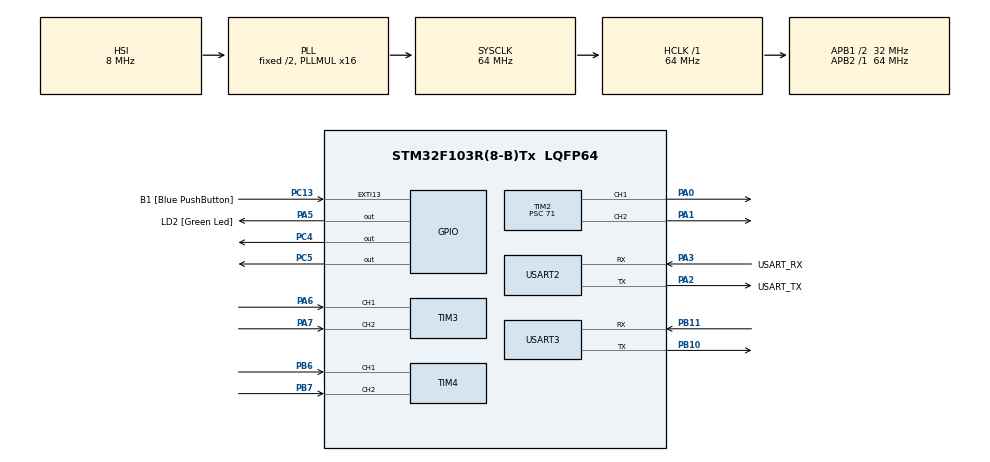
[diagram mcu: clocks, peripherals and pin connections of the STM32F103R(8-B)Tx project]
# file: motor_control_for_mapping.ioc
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Mcu.Family=STM32F1
Mcu.Name=STM32F103R(8-B)Tx
Mcu.Package=LQFP64
NVIC.EXTI15_10_IRQn=true\:0\:0\:false\:false\:true\:true\:true\:true
NVIC.PriorityGroup=NVIC_PRIORITYGROUP_4
NVIC.TIM2_IRQn=true\:0\:0\:false\:false\:true\:true\:true\:true
NVIC.TIM3_IRQn=true\:0\:0\:false\:false\:true\:true\:true\:true
NVIC.TIM4_IRQn=true\:0\:0\:false\:false\:true\:true\:true\:true
NVIC.USART2_IRQn=true\:0\:0\:false\:false\:true\:true\:true\:true
NVIC.USART3_IRQn=true\:0\:0\:false\:false\:true\:true\:true\:true
PA0-WKUP.Signal=S_TIM2_CH1_ETR
PA1.Signal=S_TIM2_CH2
PA13.GPIO_Label=TMS
PA13.Mode=Serial_Wire
PA13.Signal=SYS_JTMS-SWDIO
PA14.GPIO_Label=TCK
PA14.Mode=Serial_Wire
PA14.Signal=SYS_JTCK-SWCLK
PA2.GPIO_Label=USART_TX
PA2.GPIO_Mode=GPIO_MODE_AF_PP
PA2.GPIO_PuPd=GPIO_NOPULL
PA2.GPIO_Speed=GPIO_SPEED_FREQ_LOW
PA2.Mode=Asynchronous
PA2.Signal=USART2_TX
PA3.GPIO_Label=USART_RX
PA3.GPIO_Mode=GPIO_MODE_AF_PP
PA3.GPIO_PuPd=GPIO_NOPULL
PA3.GPIO_Speed=GPIO_SPEED_FREQ_LOW
PA3.Mode=Asynchronous
PA3.Signal=USART2_RX
PA5.GPIO_Label=LD2 [Green Led]
PA5.GPIO_ModeDefaultOutputPP=GPIO_MODE_OUTPUT_PP
PA5.GPIO_PuPd=GPIO_NOPULL
PA5.GPIO_Speed=GPIO_SPEED_FREQ_LOW
PA5.Signal=GPIO_Output
PA6.Signal=S_TIM3_CH1
PA7.Signal=S_TIM3_CH2
PB10.Mode=Asynchronous
PB10.Signal=USART3_TX
PB11.Mode=Asynchronous
PB11.Signal=USART3_RX
PB3.GPIO_Label=SWO
PB3.Signal=SYS_JTDO-TRACESWO
PB6.Signal=S_TIM4_CH1
PB7.Signal=S_TIM4_CH2
PC13-TAMPER-RTC.GPIO_Label=B1 [Blue PushButton]
PC13-TAMPER-RTC.GPIO_PuPd=GPIO_NOPULL
PC13-TAMPER-RTC.Signal=GPXTI13
PC14-OSC32_IN.Mode=LSE-External-Oscillator
PC14-OSC32_IN.Signal=RCC_OSC32_IN
PC15-OSC32_OUT.Mode=LSE-External-Oscillator
PC15-OSC32_OUT.Signal=RCC_OSC32_OUT
PC4.Signal=GPIO_Output
PC5.Signal=GPIO_Output
PD0-OSC_IN.Mode=HSE-External-Clock-Source
PD0-OSC_IN.Signal=RCC_OSC_IN
PD1-OSC_OUT.Mode=HSE-External-Clock-Source
PD1-OSC_OUT.Signal=RCC_OSC_OUT
ProjectManager.HeapSize=0x200
ProjectManager.StackSize=0x400
ProjectManager.TargetToolchain=STM32CubeIDE
RCC.AHBFreq_Value=64000000
RCC.APB1CLKDivider=RCC_HCLK_DIV2
RCC.APB1Freq_Value=32000000
RCC.APB1TimFreq_Value=64000000
RCC.APB2Freq_Value=64000000
RCC.APB2TimFreq_Value=64000000
RCC.HCLKFreq_Value=64000000
RCC.PLLMUL=RCC_PLL_MUL16
RCC.RTCClockSelection=RCC_RTCCLKSOURCE_LSE
RCC.SYSCLKFreq_VALUE=64000000
RCC.SYSCLKSource=RCC_SYSCLKSOURCE_PLLCLK
RCC.USBFreq_Value=64000000
SH.S_TIM2_CH1_ETR.0=TIM2_CH1,PWM Generation1 CH1
SH.S_TIM2_CH2.0=TIM2_CH2,PWM Generation2 CH2
SH.S_TIM3_CH1.0=TIM3_CH1,Encoder_Interface
SH.S_TIM3_CH2.0=TIM3_CH2,Encoder_Interface
SH.S_TIM4_CH1.0=TIM4_CH1,Encoder_Interface
SH.S_TIM4_CH2.0=TIM4_CH2,Encoder_Interface
TIM2.Channel-PWM\ Generation1\ CH1=TIM_CHANNEL_1
TIM2.Channel-PWM\ Generation2\ CH2=TIM_CHANNEL_2
TIM2.Period=49
TIM2.Prescaler=71
TIM3.EncoderMode=TIM_ENCODERMODE_TI12
TIM4.EncoderMode=TIM_ENCODERMODE_TI12
USART2.VirtualMode=VM_ASYNC
USART3.VirtualMode=VM_ASYNC
board=NUCLEO-F103RB

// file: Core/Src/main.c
/* USER CODE BEGIN Header */
/**
  ******************************************************************************
  * @file           : main.c
  * @brief          : Main program body
  ******************************************************************************
  * @attention
  *
  * Copyright (c) 2025 STMicroelectronics.
  * All rights reserved.
  *
  * This software is licensed under terms that can be found in the LICENSE file
  * in the root directory of this software component.
  * If no LICENSE file comes with this software, it is provided AS-IS.
  *
  ******************************************************************************
  */
/* USER CODE END Header */
#include "main.h"
#include <math.h>  // fabs() 함수 사용을 위해
#include <stdbool.h>

/* USER CODE BEGIN PD */
#define DIR_LEFT_GPIO_Port GPIOC
#define DIR_LEFT_Pin GPIO_PIN_4
#define DIR_RIGHT_GPIO_Port GPIOC
#define DIR_RIGHT_Pin GPIO_PIN_5

static char cmd_buffer[32];
static uint8_t idx = 0;

char rx_buffer[2];  // 수신용 임시 버퍼
float left_pwm = 0.0f;
float right_pwm = 0.0f;
float target_left = 0.0f;
float target_right = 0.0f;
int l_perc = 0;
int r_perc = 0;
int16_t cnt = 0;
bool new_command_received = false;
/* USER CODE END PD */

TIM_HandleTypeDef htim2;
TIM_HandleTypeDef htim3;
TIM_HandleTypeDef htim4;

UART_HandleTypeDef huart2;
UART_HandleTypeDef huart3;

void SystemClock_Config(void);
static void MX_GPIO_Init(void);
static void MX_USART2_UART_Init(void);
static void MX_TIM2_Init(void);
static void MX_TIM3_Init(void);
static void MX_TIM4_Init(void);
static void MX_USART3_UART_Init(void);

/* USER CODE BEGIN 0 */
void set_motor_pwm(float left_percent, float right_percent) {
    // 왼쪽 방향 설정
    if (left_percent >= 0.0f) {
        HAL_GPIO_WritePin(DIR_LEFT_GPIO_Port, DIR_LEFT_Pin, GPIO_PIN_SET); // 전진
    } else {
        HAL_GPIO_WritePin(DIR_LEFT_GPIO_Port, DIR_LEFT_Pin, GPIO_PIN_RESET); // 후진
        left_percent = -left_percent; // 절댓값으로
    }

    // 오른쪽 방향 설정
    if (right_percent >= 0.0f) {
        HAL_GPIO_WritePin(DIR_RIGHT_GPIO_Port, DIR_RIGHT_Pin, GPIO_PIN_SET); // 전진
    } else {
        HAL_GPIO_WritePin(DIR_RIGHT_GPIO_Port, DIR_RIGHT_Pin, GPIO_PIN_RESET); // 후진
        right_percent = -right_percent;
    }

    // 퍼센트 → CCR 변환
    TIM2->CCR1 = ((TIM2->ARR + 1) * left_percent) -1;
    TIM2->CCR2 = ((TIM2->ARR + 1) * right_percent) -1;
}

void smooth_motor_pwm(float target_left, float target_right, float duration_ms) {
    const int steps = 20;
    float step_delay = duration_ms / steps;
    if (step_delay < 1.0f) step_delay = 1.0f;

    float delta_left = (target_left - left_pwm) / steps;
    float delta_right = (target_right - right_pwm) / steps;

    for (int i = 0; i <= steps; i++) {
        float new_left = left_pwm + delta_left * i;
        float new_right = right_pwm + delta_right * i;
        set_motor_pwm(new_left, new_right);  // 기존 함수 사용
        HAL_Delay((uint32_t)step_delay);
    }

    left_pwm = target_left;
    right_pwm = target_right;
}

/*
void send_encoder_values(void) {
    char msg[64];
    int16_t left_cnt = (int16_t)__HAL_TIM_GET_COUNTER(&htim3)/104;
    int16_t right_cnt = (int16_t)__HAL_TIM_GET_COUNTER(&htim4)/104;

    sprintf(msg, "ENC_L:%d\nENC_R:%d\n", left_cnt, right_cnt);
    HAL_UART_Transmit(&huart2, (uint8_t *)msg, strlen(msg), 100);
}
*/

void send_encoder_values(void) {
    static int16_t prev_left_raw = 0;
    static int16_t prev_right_raw = 0;
    static int32_t left_total = 0;
    static int32_t right_total = 0;

    char msg[64];

    // 현재 엔코더 값 읽기
    int16_t left_now = (int16_t)__HAL_TIM_GET_COUNTER(&htim3);
    int16_t right_now = (int16_t)__HAL_TIM_GET_COUNTER(&htim4);

    // 차이 계산 (이번 주기에서 얼마나 회전했는지)
    int16_t delta_left = left_now - prev_left_raw;
    int16_t delta_right = right_now - prev_right_raw;

    // 오버플로우/언더플로우 보정
    if (delta_left > 30000) delta_left -= 65536;
    else if (delta_left < -30000) delta_left += 65536;

    if (delta_right > 30000) delta_right -= 65536;
    else if (delta_right < -30000) delta_right += 65536;

    // 누적 회전 수 갱신
    left_total += delta_left;
    right_total += delta_right;

    // 이전 값 저장
    prev_left_raw = left_now;
    prev_right_raw = right_now;

    // 엔코더 해상도 보정 (104는 기어비, 인코더 펄스 수에 따라 다를 수 있음)
    int16_t left_cnt = left_total / 208;
    int16_t right_cnt = right_total / 208;

    // 결과 전송
    sprintf(msg, "ENC_L:%d\nENC_R:%d\n", left_cnt, right_cnt);
    HAL_UART_Transmit(&huart2, (uint8_t *)msg, strlen(msg), 100);
}

/* USER CODE END 0 */

int main(void)
{

  /* MCU Configuration--------------------------------------------------------*/

  /* Reset of all peripherals, Initializes the Flash interface and the Systick. */
  HAL_Init();

  /* Configure the system clock */
  SystemClock_Config();

  /* Initialize all configured peripherals */
  MX_GPIO_Init();
  MX_USART2_UART_Init();
  MX_TIM2_Init();
  MX_TIM3_Init();
  MX_TIM4_Init();
  MX_USART3_UART_Init();
  /* USER CODE BEGIN 2 */
  HAL_TIM_PWM_Start(&htim2, TIM_CHANNEL_1); // 예: 오른쪽 모터
  HAL_TIM_PWM_Start(&htim2, TIM_CHANNEL_2); // 예: 왼쪽 모터
  HAL_TIM_Encoder_Start(&htim3, TIM_CHANNEL_ALL); // 좌측
  HAL_TIM_Encoder_Start(&htim4, TIM_CHANNEL_ALL); // 우측

  HAL_UART_Receive_IT(&huart2, (uint8_t *)rx_buffer, 1);

  uint32_t last_send_time = 0;
  /* USER CODE END 2 */
  //TIM2->CCR1 = (TIM2->ARR + 1) * 0.2 -1;
  //TIM2->CCR2 = (TIM2->ARR + 1) * 0.2 -1;
  //HAL_GPIO_WritePin(GPIOA, GPIO_PIN_4, 0);
  /* Infinite loop */
  /* USER CODE BEGIN WHILE */
  while (1)
  {
    //* USER CODE END WHILE *
	cnt = (int16_t)__HAL_TIM_GET_COUNTER(&htim3)/104;
	if (new_command_received) {
	  smooth_motor_pwm(target_left, target_right, 600);  // 300ms 부드럽게 증감속
	  new_command_received = false;
	}

	//send_encoder_values();
	//HAL_Delay(1000); // 1Hz
	if (HAL_GetTick() - last_send_time >= 1000) {  // 1초 경과 체크
	  send_encoder_values();
	  last_send_time = HAL_GetTick();
	}

  }
}

void SystemClock_Config(void)
{
  RCC_OscInitTypeDef RCC_OscInitStruct = {0};
  RCC_ClkInitTypeDef RCC_ClkInitStruct = {0};

  /** Initializes the RCC Oscillators according to the specified parameters
  * in the RCC_OscInitTypeDef structure.
  */
  RCC_OscInitStruct.OscillatorType = RCC_OSCILLATORTYPE_HSI;
  RCC_OscInitStruct.HSIState = RCC_HSI_ON;
  RCC_OscInitStruct.HSICalibrationValue = RCC_HSICALIBRATION_DEFAULT;
  RCC_OscInitStruct.PLL.PLLState = RCC_PLL_ON;
  RCC_OscInitStruct.PLL.PLLSource = RCC_PLLSOURCE_HSI_DIV2;
  RCC_OscInitStruct.PLL.PLLMUL = RCC_PLL_MUL16;
  if (HAL_RCC_OscConfig(&RCC_OscInitStruct) != HAL_OK)
  {
    Error_Handler();
  }

  /** Initializes the CPU, AHB and APB buses clocks
  */
  RCC_ClkInitStruct.ClockType = RCC_CLOCKTYPE_HCLK|RCC_CLOCKTYPE_SYSCLK
                              |RCC_CLOCKTYPE_PCLK1|RCC_CLOCKTYPE_PCLK2;
  RCC_ClkInitStruct.SYSCLKSource = RCC_SYSCLKSOURCE_PLLCLK;
  RCC_ClkInitStruct.AHBCLKDivider = RCC_SYSCLK_DIV1;
  RCC_ClkInitStruct.APB1CLKDivider = RCC_HCLK_DIV2;
  RCC_ClkInitStruct.APB2CLKDivider = RCC_HCLK_DIV1;

  if (HAL_RCC_ClockConfig(&RCC_ClkInitStruct, FLASH_LATENCY_2) != HAL_OK)
  {
    Error_Handler();
  }
}

static void MX_TIM2_Init(void)
{

  TIM_MasterConfigTypeDef sMasterConfig = {0};
  TIM_OC_InitTypeDef sConfigOC = {0};

  htim2.Instance = TIM2;
  htim2.Init.Prescaler = 71;
  htim2.Init.CounterMode = TIM_COUNTERMODE_UP;
  htim2.Init.Period = 49;
  htim2.Init.ClockDivision = TIM_CLOCKDIVISION_DIV1;
  htim2.Init.AutoReloadPreload = TIM_AUTORELOAD_PRELOAD_DISABLE;
  if (HAL_TIM_PWM_Init(&htim2) != HAL_OK)
  {
    Error_Handler();
  }
  sMasterConfig.MasterOutputTrigger = TIM_TRGO_RESET;
  sMasterConfig.MasterSlaveMode = TIM_MASTERSLAVEMODE_DISABLE;
  if (HAL_TIMEx_MasterConfigSynchronization(&htim2, &sMasterConfig) != HAL_OK)
  {
    Error_Handler();
  }
  sConfigOC.OCMode = TIM_OCMODE_PWM1;
  sConfigOC.Pulse = 0;
  sConfigOC.OCPolarity = TIM_OCPOLARITY_HIGH;
  sConfigOC.OCFastMode = TIM_OCFAST_DISABLE;
  if (HAL_TIM_PWM_ConfigChannel(&htim2, &sConfigOC, TIM_CHANNEL_1) != HAL_OK)
  {
    Error_Handler();
  }
  if (HAL_TIM_PWM_ConfigChannel(&htim2, &sConfigOC, TIM_CHANNEL_2) != HAL_OK)
  {
    Error_Handler();
  }
  HAL_TIM_MspPostInit(&htim2);

}

static void MX_TIM3_Init(void)
{

  TIM_Encoder_InitTypeDef sConfig = {0};
  TIM_MasterConfigTypeDef sMasterConfig = {0};

  htim3.Instance = TIM3;
  htim3.Init.Prescaler = 0;
  htim3.Init.CounterMode = TIM_COUNTERMODE_UP;
  htim3.Init.Period = 65535;
  htim3.Init.ClockDivision = TIM_CLOCKDIVISION_DIV1;
  htim3.Init.AutoReloadPreload = TIM_AUTORELOAD_PRELOAD_DISABLE;
  sConfig.EncoderMode = TIM_ENCODERMODE_TI12;
  sConfig.IC1Polarity = TIM_ICPOLARITY_RISING;
  sConfig.IC1Selection = TIM_ICSELECTION_DIRECTTI;
  sConfig.IC1Prescaler = TIM_ICPSC_DIV1;
  sConfig.IC1Filter = 0;
  sConfig.IC2Polarity = TIM_ICPOLARITY_RISING;
  sConfig.IC2Selection = TIM_ICSELECTION_DIRECTTI;
  sConfig.IC2Prescaler = TIM_ICPSC_DIV1;
  sConfig.IC2Filter = 0;
  if (HAL_TIM_Encoder_Init(&htim3, &sConfig) != HAL_OK)
  {
    Error_Handler();
  }
  sMasterConfig.MasterOutputTrigger = TIM_TRGO_RESET;
  sMasterConfig.MasterSlaveMode = TIM_MASTERSLAVEMODE_DISABLE;
  if (HAL_TIMEx_MasterConfigSynchronization(&htim3, &sMasterConfig) != HAL_OK)
  {
    Error_Handler();
  }

}

static void MX_TIM4_Init(void)
{

  TIM_Encoder_InitTypeDef sConfig = {0};
  TIM_MasterConfigTypeDef sMasterConfig = {0};

  htim4.Instance = TIM4;
  htim4.Init.Prescaler = 0;
  htim4.Init.CounterMode = TIM_COUNTERMODE_UP;
  htim4.Init.Period = 65535;
  htim4.Init.ClockDivision = TIM_CLOCKDIVISION_DIV1;
  htim4.Init.AutoReloadPreload = TIM_AUTORELOAD_PRELOAD_DISABLE;
  sConfig.EncoderMode = TIM_ENCODERMODE_TI12;
  sConfig.IC1Polarity = TIM_ICPOLARITY_RISING;
  sConfig.IC1Selection = TIM_ICSELECTION_DIRECTTI;
  sConfig.IC1Prescaler = TIM_ICPSC_DIV1;
  sConfig.IC1Filter = 0;
  sConfig.IC2Polarity = TIM_ICPOLARITY_RISING;
  sConfig.IC2Selection = TIM_ICSELECTION_DIRECTTI;
  sConfig.IC2Prescaler = TIM_ICPSC_DIV1;
  sConfig.IC2Filter = 0;
  if (HAL_TIM_Encoder_Init(&htim4, &sConfig) != HAL_OK)
  {
    Error_Handler();
  }
  sMasterConfig.MasterOutputTrigger = TIM_TRGO_RESET;
  sMasterConfig.MasterSlaveMode = TIM_MASTERSLAVEMODE_DISABLE;
  if (HAL_TIMEx_MasterConfigSynchronization(&htim4, &sMasterConfig) != HAL_OK)
  {
    Error_Handler();
  }

}

static void MX_USART2_UART_Init(void)
{

  huart2.Instance = USART2;
  huart2.Init.BaudRate = 115200;
  huart2.Init.WordLength = UART_WORDLENGTH_8B;
  huart2.Init.StopBits = UART_STOPBITS_1;
  huart2.Init.Parity = UART_PARITY_NONE;
  huart2.Init.Mode = UART_MODE_TX_RX;
  huart2.Init.HwFlowCtl = UART_HWCONTROL_NONE;
  huart2.Init.OverSampling = UART_OVERSAMPLING_16;
  if (HAL_UART_Init(&huart2) != HAL_OK)
  {
    Error_Handler();
  }

}

static void MX_USART3_UART_Init(void)
{

  huart3.Instance = USART3;
  huart3.Init.BaudRate = 115200;
  huart3.Init.WordLength = UART_WORDLENGTH_8B;
  huart3.Init.StopBits = UART_STOPBITS_1;
  huart3.Init.Parity = UART_PARITY_NONE;
  huart3.Init.Mode = UART_MODE_TX_RX;
  huart3.Init.HwFlowCtl = UART_HWCONTROL_NONE;
  huart3.Init.OverSampling = UART_OVERSAMPLING_16;
  if (HAL_UART_Init(&huart3) != HAL_OK)
  {
    Error_Handler();
  }

}

static void MX_GPIO_Init(void)
{
  GPIO_InitTypeDef GPIO_InitStruct = {0};

  /* GPIO Ports Clock Enable */
  __HAL_RCC_GPIOC_CLK_ENABLE();
  __HAL_RCC_GPIOD_CLK_ENABLE();
  __HAL_RCC_GPIOA_CLK_ENABLE();
  __HAL_RCC_GPIOB_CLK_ENABLE();

  /*Configure GPIO pin Output Level */
  HAL_GPIO_WritePin(LD2_GPIO_Port, LD2_Pin, GPIO_PIN_RESET);

  /*Configure GPIO pin Output Level */
  HAL_GPIO_WritePin(GPIOC, GPIO_PIN_4|GPIO_PIN_5, GPIO_PIN_RESET);

  /*Configure GPIO pin : B1_Pin */
  GPIO_InitStruct.Pin = B1_Pin;
  GPIO_InitStruct.Mode = GPIO_MODE_IT_RISING;
  GPIO_InitStruct.Pull = GPIO_NOPULL;
  HAL_GPIO_Init(B1_GPIO_Port, &GPIO_InitStruct);

  /*Configure GPIO pin : LD2_Pin */
  GPIO_InitStruct.Pin = LD2_Pin;
  GPIO_InitStruct.Mode = GPIO_MODE_OUTPUT_PP;
  GPIO_InitStruct.Pull = GPIO_NOPULL;
  GPIO_InitStruct.Speed = GPIO_SPEED_FREQ_LOW;
  HAL_GPIO_Init(LD2_GPIO_Port, &GPIO_InitStruct);

  /*Configure GPIO pins : PC4 PC5 */
  GPIO_InitStruct.Pin = GPIO_PIN_4|GPIO_PIN_5;
  GPIO_InitStruct.Mode = GPIO_MODE_OUTPUT_PP;
  GPIO_InitStruct.Pull = GPIO_NOPULL;
  GPIO_InitStruct.Speed = GPIO_SPEED_FREQ_LOW;
  HAL_GPIO_Init(GPIOC, &GPIO_InitStruct);

  /* EXTI interrupt init*/
  HAL_NVIC_SetPriority(EXTI15_10_IRQn, 0, 0);
  HAL_NVIC_EnableIRQ(EXTI15_10_IRQn);

}

/* USER CODE BEGIN 4 */

void HAL_UART_RxCpltCallback(UART_HandleTypeDef *huart) {

    if (huart->Instance == USART2) {
        char c = rx_buffer[0];

        if (c != '\n' && idx < sizeof(cmd_buffer) - 1) {
            cmd_buffer[idx++] = c;
        } else {
            cmd_buffer[idx] = '\0';
            idx = 0;

            int l_perc = 0, r_perc = 0;
            /*
            if (sscanf(cmd_buffer, "L%d,R%d", &l_perc, &r_perc) == 2) {
                left_pwm = l_perc * 0.01f;
                right_pwm = r_perc * 0.01f;
                set_motor_pwm(left_pwm, right_pwm);
            }
			*/

            if (sscanf(cmd_buffer, "L%d,R%d", &l_perc, &r_perc) == 2) {
                target_left = l_perc * 0.01f;
                target_right = r_perc * 0.01f;
                new_command_received = true;
            }
        }

        HAL_UART_Receive_IT(&huart2, (uint8_t *)rx_buffer, 1);
    }
}

/* USER CODE END 4 */

void Error_Handler(void)
{
  __disable_irq();
  while (1)
  {
  }
}
